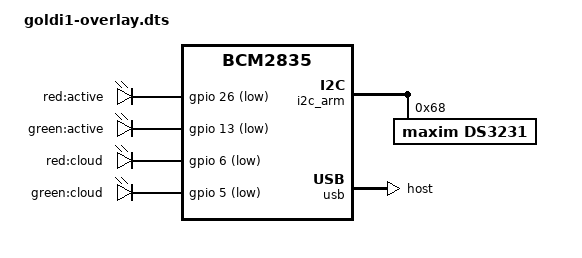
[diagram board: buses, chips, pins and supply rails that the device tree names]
/dts-v1/;
/plugin/;

/ {
    compatible = "brcm,bcm2835";

    /* Disable HDMI0 and HDMI1 */

    fragment@0 {
        target = <&hdmi0>;
        __overlay__ {
            status = "disabled";
        };
    };

    fragment@1 {
        target = <&hdmi0>;
        __overlay__ {
            status = "disabled";
        };
    };

    /* LEDs */

    fragment@2 {
		target = <&leds>;
		__overlay__ {
			compatible = "gpio-leds";
			red_active {
				label = "red:active";
				linux,default-trigger = "default-on";
				gpios = <&gpio 26 1>;
			};

            green_active {
				label = "green:active";
				linux,default-trigger = "default-on";
				gpios = <&gpio 13 1>;
			};

            red_cloud {
				label = "red:cloud";
				linux,default-trigger = "default-on";
				gpios = <&gpio 6 1>;
			};

            green_cloud {
				label = "green:cloud";
				linux,default-trigger = "default-on";
				gpios = <&gpio 5 1>;
			};
		};
	};

	/* RTC */

	fragment@3 {
		target = <&i2c_arm>;
		__overlay__ {
			#address-cells = <1>;
			#size-cells = <0>;
			status = "okay";
			ds3231: ds3231@68 {
				compatible = "maxim,ds3231";
				reg = <0x68>;
				status = "okay";
			};
		};
	};

	/* SPI 0 */
	fragment@4 {
		target = <&spi0_cs_pins>;
		__overlay__ {
			brcm,pins = <8>;
		};
	};

	fragment@5 {
		target = <&spi0>;
		__overlay__ {
			cs-gpios = <&gpio 8 1>;
		};
	};

	fragment@6 {
		target = <&spidev1>;
		__overlay__ {
			status = "disabled";
		};
	};

	/* USB */

	fragment@7 {
		target = <&usb>;
		#address-cells = <1>;
		#size-cells = <1>;
		dwc2_usb: __overlay__ {
			compatible = "brcm,bcm2835-usb";
			dr_mode = "host";
			g-np-tx-fifo-size = <32>;
			g-rx-fifo-size = <558>;
			g-tx-fifo-size = <512 512 512 512 512 256 256>;
			status = "okay";
		};
	};
};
